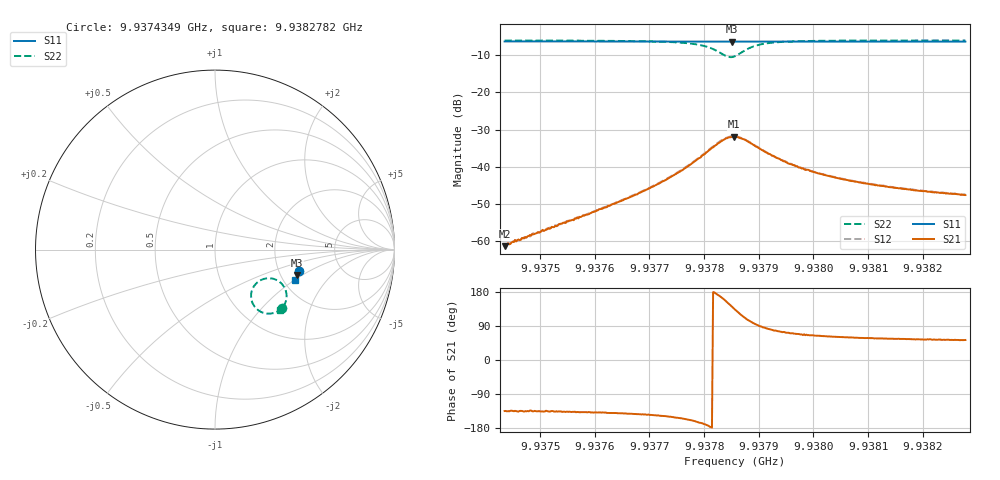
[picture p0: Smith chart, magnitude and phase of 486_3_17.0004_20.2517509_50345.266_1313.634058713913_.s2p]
#  HZ  S  RI  R  50.00
! Rohde & Schwarz Vector Network Analyzer
! Rohde-Schwarz,ZNB20-2Port,1311601062101988,3.16
! Created: UTC 3/20/2024, 11:13:53 PM
! freq[Hz]  re:S11  im:S11  re:S21  im:S21  re:S12  im:S12  re:S22  im:S22
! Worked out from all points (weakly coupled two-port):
!   401 points, 9.9374349 GHz to 9.9382782 GHz, reference 50 ohm
!   highest |S21| = -31.90 dB at 9.9378544 GHz (marker M1); lowest = -61.3 dB at 9.9374349 GHz (marker M2)
!   lowest |S11| = -6.4 dB at 9.9378502 GHz (marker M3), VSWR 2.83, Z = 122 - j45.3 ohm
!   |S11| at or under -10 dB: nowhere
!   |S22| runs from -10.5 to -6.1 dB; largest |S21 - S12| = 0.0011
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9.93743491e9  0.4685 -0.1173  -0.000603 -0.00061  -0.000614 -0.000632  0.3752 -0.3258
9.93745388e9  0.4681 -0.1186  -0.000725 -0.000744  -0.000719 -0.00073  0.3735 -0.3274
9.93757616e9  0.4654 -0.1268  -0.00159 -0.00146  -0.00162 -0.00145  0.3596 -0.3381
9.93765626e9  0.4635 -0.1323  -0.00286 -0.00234  -0.00292 -0.0023  0.3442 -0.3467
9.9377174e9  0.4618 -0.1364  -0.00497 -0.00327  -0.00512 -0.00324  0.3233 -0.3543
9.93775956e9  0.4605 -0.1392  -0.00808 -0.00389  -0.00831 -0.00384  0.2959 -0.3571
9.93780172e9  0.4586 -0.1421  -0.0147 -0.00269  -0.0151 -0.00234  0.2423 -0.3386
9.93781648e9  0.4577 -0.1428  -0.0182 0.00026  -0.0187 0.000398  0.2174 -0.3128
9.93783124e9  0.4569 -0.1432  -0.0213 0.00544  -0.0218 0.00612  0.2014 -0.2658
9.93784178e9  0.4564 -0.1433  -0.0215 0.0111  -0.0216 0.0118  0.2078 -0.2219
9.93785021e9  0.4563 -0.1431  -0.0197 0.0155  -0.0196 0.0166  0.2292 -0.189
9.93785443e9  0.4564 -0.1432  -0.0183 0.0177  -0.0179 0.0185  0.2445 -0.1764
9.93785654e9  0.4564 -0.1431  -0.0173 0.0185  -0.017 0.0192  0.253 -0.1711
9.93786708e9  0.4568 -0.1434  -0.012 0.021  -0.0114 0.0217  0.298 -0.1594
9.93788183e9  0.4572 -0.1443  -0.00536 0.0207  -0.00465 0.0212  0.3495 -0.1728
9.93790502e9  0.4574 -0.1461  0.000541 0.0169  0.00107 0.0171  0.3876 -0.2129
9.93792821e9  0.4572 -0.148  0.00294 0.0135  0.00306 0.0134  0.3977 -0.2452
9.93795351e9  0.4566 -0.1497  0.00344 0.0106  0.00379 0.0107  0.3984 -0.2685
9.93799778e9  0.4556 -0.1529  0.00363 0.00785  0.00382 0.00784  0.3932 -0.2926
9.93806946e9  0.4537 -0.1579  0.00325 0.00555  0.00345 0.00556  0.3836 -0.3132
9.93813902e9  0.452 -0.1625  0.00298 0.00442  0.00306 0.00445  0.3758 -0.3243
9.93827816e9  0.4481 -0.1712  0.00252 0.00332  0.00263 0.00332  0.3637 -0.3388
